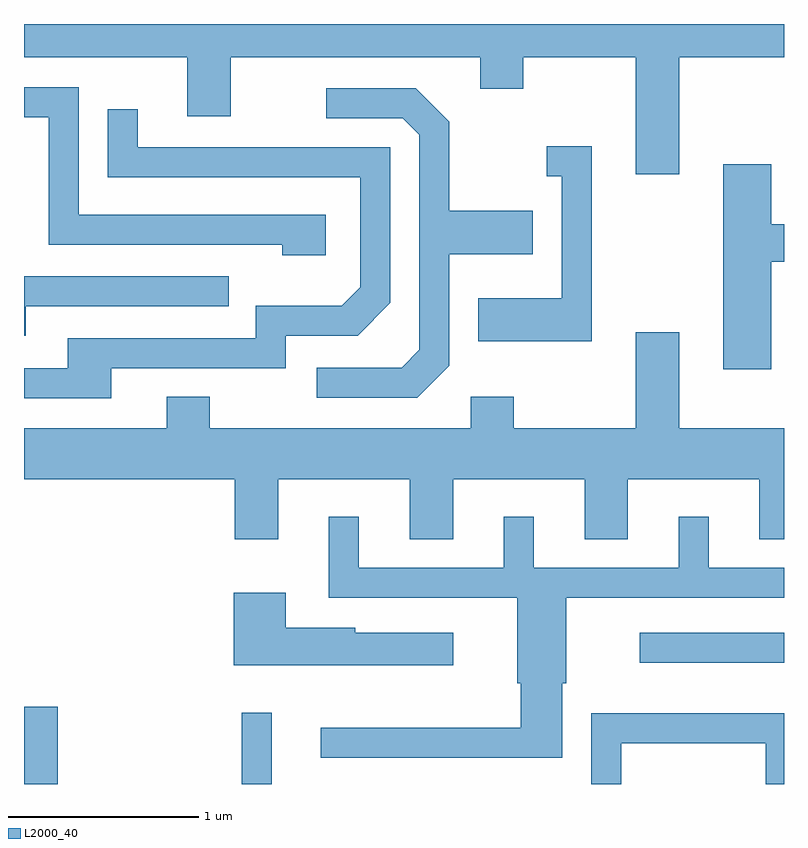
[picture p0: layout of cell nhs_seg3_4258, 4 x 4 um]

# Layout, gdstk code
import gdstk
lib = gdstk.Library(unit=1e-6, precision=1e-09)
def R(c, l, rs):  # rectangles x0, y0, x1, y1
    for r in rs: c.add(gdstk.rectangle(r[:2], r[2:], *l))
def P(c, l, *ps):  # polygons
    for p in ps: c.add(gdstk.Polygon(p, *l))
L2000_40 = (2000, 40)

nhs_seg3_4258 = lib.new_cell('nhs_seg3_4258')
R(nhs_seg3_4258, L2000_40, [(309.611,1199.892,309.789,1200.299), (310.756,1199.892,310.914,1200.268), (312.853,1200.531,313.611,1200.689)])
P(nhs_seg3_4258, L2000_40, [(313.059,1203.716),(313.611,1203.716),(313.611,1203.892),(309.611,1203.892),(309.611,1203.716),(310.471,1203.716),(310.471,1203.406),(310.699,1203.406),(310.699,1203.716),(312.011,1203.716),(312.011,1203.551),(312.239,1203.551),(312.239,1203.716),(312.831,1203.716),(312.831,1203.101),(313.059,1203.101)],
  [(311.199,1202.889),(309.899,1202.889),(309.899,1203.559),(309.611,1203.559),(309.611,1203.401),(309.741,1203.401),(309.741,1202.731),(310.971,1202.731),(310.971,1202.676),(311.199,1202.676)],
  [(311.849,1202.094),(311.849,1202.681),(312.289,1202.681),(312.289,1202.909),(311.849,1202.909),(311.849,1203.377),(311.672,1203.554),(311.203,1203.554),(311.203,1203.396),(311.604,1203.396),(311.691,1203.309),(311.691,1202.177),(311.599,1202.084),(311.153,1202.084),(311.153,1201.926),(311.682,1201.926)],
  [(310.069,1202.081),(310.989,1202.081),(310.989,1202.251),(311.367,1202.251),(311.539,1202.424),(311.539,1203.244),(310.209,1203.244),(310.209,1203.443),(310.051,1203.443),(310.051,1203.086),(311.381,1203.086),(311.381,1202.507),(311.284,1202.409),(310.831,1202.409),(310.831,1202.239),(309.841,1202.239),(309.841,1202.079),(309.611,1202.079),(309.611,1201.921),(310.069,1201.921)],
  [(312.599,1203.249),(312.363,1203.249),(312.363,1203.091),(312.441,1203.091),(312.441,1202.449),(312.001,1202.449),(312.001,1202.221),(312.599,1202.221)],
  [(313.544,1202.641),(313.611,1202.641),(313.611,1202.839),(313.544,1202.839),(313.544,1203.154),(313.291,1203.154),(313.291,1202.076),(313.544,1202.076)],
  [(309.619,1202.406),(310.688,1202.406),(310.688,1202.564),(309.611,1202.564),(309.611,1202.251),(309.619,1202.251)],
  [(310.949,1201.496),(311.641,1201.496),(311.641,1201.181),(311.869,1201.181),(311.869,1201.496),(312.561,1201.496),(312.561,1201.181),(312.789,1201.181),(312.789,1201.496),(313.481,1201.496),(313.481,1201.181),(313.611,1201.181),(313.611,1201.764),(313.059,1201.764),(313.059,1202.269),(312.831,1202.269),(312.831,1201.764),(312.189,1201.764),(312.189,1201.929),(311.961,1201.929),(311.961,1201.764),(310.589,1201.764),(310.589,1201.929),(310.361,1201.929),(310.361,1201.764),(309.611,1201.764),(309.611,1201.496),(310.721,1201.496),(310.721,1201.181),(310.949,1201.181)],
  [(312.444,1200.421),(312.464,1200.421),(312.464,1200.871),(313.611,1200.871),(313.611,1201.029),(313.214,1201.029),(313.214,1201.298),(313.056,1201.298),(313.056,1201.029),(312.294,1201.029),(312.294,1201.298),(312.136,1201.298),(312.136,1201.029),(311.374,1201.029),(311.374,1201.298),(311.216,1201.298),(311.216,1200.871),(312.206,1200.871),(312.206,1200.421),(312.226,1200.421),(312.226,1200.189),(311.173,1200.189),(311.173,1200.031),(312.444,1200.031)],
  [(311.869,1200.689),(311.354,1200.689),(311.354,1200.714),(310.989,1200.714),(310.989,1200.899),(310.716,1200.899),(310.716,1200.516),(311.869,1200.516)],
  [(312.754,1200.106),(313.516,1200.106),(313.516,1199.892),(313.611,1199.892),(313.611,1200.264),(312.596,1200.264),(312.596,1199.892),(312.754,1199.892)])

lib.write_gds('nhs_seg3_4258.gds')
